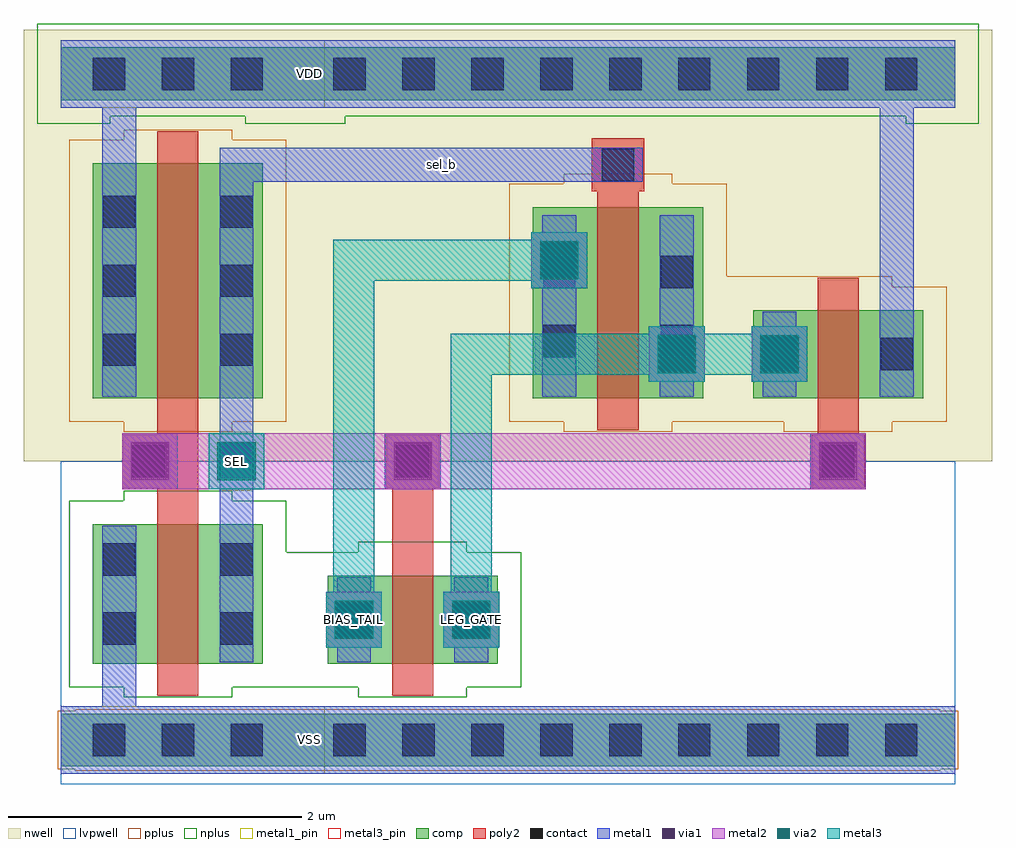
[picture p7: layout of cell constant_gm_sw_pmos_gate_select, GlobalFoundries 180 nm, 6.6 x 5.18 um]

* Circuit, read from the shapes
.subckt constant_gm_sw_pmos_gate_select BIAS_TAIL LEG_GATE SEL VDD VSS sel_b
XM1 sel_b SEL VSS VSS nfet_03v3 w=0.95u l=0.28u
XM2 LEG_GATE SEL BIAS_TAIL VSS nfet_03v3 w=0.6u l=0.28u
XM3 sel_b SEL VDD VDD pfet_03v3 w=1.6u l=0.28u
XM4 LEG_GATE sel_b BIAS_TAIL VDD pfet_03v3 w=1.3u l=0.28u
XM5 VDD SEL LEG_GATE VDD pfet_03v3 w=0.6u l=0.28u
.ends

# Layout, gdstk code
import gdstk
lib = gdstk.Library(unit=1e-6, precision=1e-09)
def R(c, l, rs):  # rectangles x0, y0, x1, y1
    for r in rs: c.add(gdstk.rectangle(r[:2], r[2:], *l))
def A(c, l, x, y, w, h, nx, ny, dx, dy):  # array of equal rectangles
    R(c, l, [(x+i*dx, y+j*dy, x+i*dx+w, y+j*dy+h) for i in range(nx) for j in range(ny)])
nwell = (21, 0)
comp = (22, 0)
poly2 = (30, 0)
pplus = (31, 0)
nplus = (32, 0)
contact = (33, 0)
metal1 = (34, 0)
metal1_pin = (34, 10)
via1 = (35, 0)
metal2 = (36, 0)
via2 = (38, 0)
metal3 = (42, 0)
metal3_pin = (42, 10)
lvpwell = (204, 0)

logic_inverter_1x = lib.new_cell('logic_inverter_1x')
R(logic_inverter_1x, nwell, [(-0.25,2.13,1.85,5.07)])
R(logic_inverter_1x, comp, [(0,0.05,1.6,0.41), (0.22,0.75,1.38,1.7), (0.22,2.56,1.38,4.16), (0,4.59,1.6,4.95)])
R(logic_inverter_1x, poly2, [(0.66,0.53,0.94,1.95), (0.42,1.95,0.94,2.31), (0.66,2.31,0.94,4.38)])
R(logic_inverter_1x, pplus, [(0.105,0.02,1.495,0.03), (-0.02,0.03,1.62,0.43), (0.105,0.43,1.495,0.44), (0.43,2.33,1.17,2.4), (0.06,2.4,1.54,4.32), (0.43,4.32,1.17,4.39)])
R(logic_inverter_1x, nplus, [(0.43,0.52,1.17,0.59), (0.06,0.59,1.54,1.86), (0.43,1.86,1.17,1.93), (-0.16,4.43,0.34,4.48), (1.26,4.43,1.76,4.48), (-0.16,4.48,1.76,5.11)])
A(logic_inverter_1x, contact, 0.22, 0.12, 0.22, 0.22, 3, 2, 0.47, 4.54)
A(logic_inverter_1x, contact, 0.29, 2.78, 0.22, 0.22, 1, 3, 0, 0.47)
A(logic_inverter_1x, contact, 1.09, 2.78, 0.22, 0.22, 1, 3, 0, 0.47)
R(logic_inverter_1x, contact, [(0.29,0.88,0.51,1.1), (1.09,0.88,1.31,1.1), (0.29,1.35,0.51,1.57), (1.09,1.35,1.31,1.57), (0.49,2.02,0.71,2.24)])
R(logic_inverter_1x, metal1, [(0,0,1.6,0.46), (0.285,0.46,0.515,1.69), (1.085,0.76,1.315,4.15), (0.42,1.94,0.8,2.32), (0.285,2.57,0.515,4.54), (0,4.54,1.6,5)])
R(logic_inverter_1x, metal1_pin, [(0,0,1.6,0.46), (1.085,1.93,1.315,2.33), (0.42,1.94,0.8,2.32), (0,4.54,1.6,5)])
R(logic_inverter_1x, lvpwell, [(0,-0.07,1.6,2.13)])
logic_inverter_1x.add(gdstk.Label('VSS', (0.8,0.23), layer=34, texttype=10))
logic_inverter_1x.add(gdstk.Label('VDD', (0.8,4.77), layer=34, texttype=10))
logic_inverter_1x.add(gdstk.Label('OUT', (1.2,2.13), layer=34, texttype=10))
logic_inverter_1x.add(gdstk.Label('IN', (0.61,2.13), layer=34, texttype=10))

constant_gm_sw_pmos_gate = lib.new_cell('constant_gm_sw_pmos_gate_select')
R(constant_gm_sw_pmos_gate, nwell, [(1.35,2.13,6.35,5.07)])
R(constant_gm_sw_pmos_gate, comp, [(1.6,0.05,6.1,0.41), (1.82,0.75,2.98,1.35), (3.22,2.56,4.38,3.86), (4.72,2.56,5.88,3.16), (1.6,4.59,6.1,4.95)])
R(constant_gm_sw_pmos_gate, poly2, [(2.26,0.53,2.54,1.95), (2.22,1.95,2.58,2.31), (5.12,1.95,5.48,2.31), (5.16,2.31,5.44,3.38), (3.66,2.34,3.94,3.97), (3.62,3.97,3.98,4.33)])
R(constant_gm_sw_pmos_gate, pplus, [(1.495,0.02,5.995,0.03), (1.58,0.03,6.12,0.43), (1.495,0.43,5.995,0.44), (3.43,2.33,4.17,2.4), (4.93,2.33,5.67,2.4), (3.06,2.4,6.04,3.32), (3.06,3.32,5.67,3.39), (3.06,3.39,4.54,4.02), (3.43,4.02,4.17,4.09)])
R(constant_gm_sw_pmos_gate, nplus, [(2.03,0.52,2.77,0.59), (1.54,0.59,3.14,1.51), (2.03,1.51,2.77,1.58), (1.44,4.43,1.94,4.48), (5.76,4.43,6.26,4.48), (1.44,4.48,6.26,5.11)])
A(constant_gm_sw_pmos_gate, contact, 1.86, 0.12, 0.22, 0.22, 9, 2, 0.47, 4.54)
R(constant_gm_sw_pmos_gate, contact, [(1.89,0.94,2.11,1.16), (2.69,0.94,2.91,1.16), (2.29,2.02,2.51,2.24), (5.19,2.02,5.41,2.24), (4.79,2.75,5.01,2.97), (5.59,2.75,5.81,2.97), (3.29,2.84,3.51,3.06), (4.09,2.84,4.31,3.06), (3.29,3.31,3.51,3.53), (4.09,3.31,4.31,3.53), (3.69,4.04,3.91,4.26)])
R(constant_gm_sw_pmos_gate, metal1, [(1.6,0,6.1,0.46), (1.885,0.76,2.115,0.86), (2.685,0.76,2.915,0.86), (1.81,0.86,2.19,1.24), (2.61,0.86,2.99,1.24), (1.885,1.24,2.115,1.34), (2.685,1.24,2.915,1.34), (0.42,1.94,0.8,2.32), (2.21,1.94,2.59,2.32), (5.11,1.94,5.49,2.32), (3.285,2.57,3.515,3.31), (4.085,2.57,4.315,2.67), (4.785,2.57,5.015,2.67), (5.585,2.57,5.815,4.54), (4.01,2.67,4.39,3.05), (4.71,2.67,5.09,3.05), (4.085,3.05,4.315,3.805), (4.785,3.05,5.015,3.15), (3.21,3.31,3.59,3.69), (3.285,3.69,3.515,3.805), (1.085,4.035,3.97,4.265), (1.6,4.54,6.1,5)])
R(constant_gm_sw_pmos_gate, metal1_pin, [(1.6,0,1.8,0.46), (1.6,4.54,1.8,5)])
R(constant_gm_sw_pmos_gate, via1, [(1.87,0.92,2.13,1.18), (2.67,0.92,2.93,1.18), (0.48,2,0.74,2.26), (2.27,2,2.53,2.26), (5.17,2,5.43,2.26), (4.07,2.73,4.33,2.99), (4.77,2.73,5.03,2.99), (3.27,3.37,3.53,3.63)])
R(constant_gm_sw_pmos_gate, metal2, [(1.81,0.86,2.19,1.24), (2.61,0.86,2.99,1.24), (0.42,1.94,5.49,2.32), (4.01,2.67,4.39,3.05), (4.71,2.67,5.09,3.05), (3.21,3.31,3.59,3.69)])
R(constant_gm_sw_pmos_gate, via2, [(1.87,0.92,2.13,1.18), (2.67,0.92,2.93,1.18), (1.07,2,1.33,2.26), (4.07,2.73,4.33,2.99), (4.77,2.73,5.03,2.99), (3.27,3.37,3.53,3.63)])
R(constant_gm_sw_pmos_gate, metal3, [(1.81,0.86,2.19,1.24), (2.61,0.86,2.99,1.24), (1.86,1.24,2.14,3.36), (2.66,1.24,2.94,2.72), (1.01,1.94,1.39,2.32), (4.01,2.67,4.39,2.72), (4.71,2.67,5.09,2.72), (2.66,2.72,5.09,3), (4.01,3,4.39,3.05), (4.71,3,5.09,3.05), (3.21,3.31,3.59,3.36), (1.86,3.36,3.59,3.64), (3.21,3.64,3.59,3.69)])
R(constant_gm_sw_pmos_gate, metal3_pin, [(1.81,0.86,2.19,1.24), (2.61,0.86,2.99,1.24), (1.01,1.94,1.39,2.32)])
R(constant_gm_sw_pmos_gate, lvpwell, [(1.6,-0.07,6.1,2.13)])
constant_gm_sw_pmos_gate.add(gdstk.Reference(logic_inverter_1x, (0,0)))
constant_gm_sw_pmos_gate.add(gdstk.Label('sel_b', (2.6,4.15), layer=34, texttype=0))
constant_gm_sw_pmos_gate.add(gdstk.Label('VSS', (1.7,0.23), layer=34, texttype=10))
constant_gm_sw_pmos_gate.add(gdstk.Label('VDD', (1.7,4.77), layer=34, texttype=10))
constant_gm_sw_pmos_gate.add(gdstk.Label('SEL', (1.2,2.13), layer=42, texttype=10))
constant_gm_sw_pmos_gate.add(gdstk.Label('LEG_GATE', (2.8,1.05), layer=42, texttype=10))
constant_gm_sw_pmos_gate.add(gdstk.Label('BIAS_TAIL', (2,1.05), layer=42, texttype=10))

lib.write_gds('constant_gm_sw_pmos_gate_select.gds')
